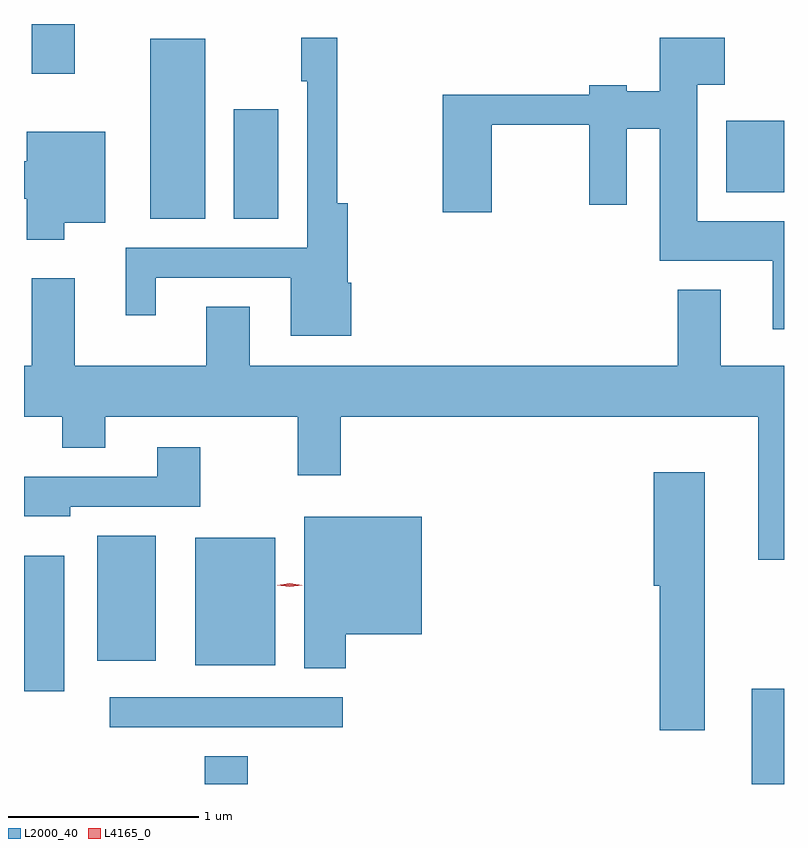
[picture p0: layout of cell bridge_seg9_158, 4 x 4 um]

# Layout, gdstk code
import gdstk
lib = gdstk.Library(unit=1e-6, precision=1e-09)
def R(c, l, rs):  # rectangles x0, y0, x1, y1
    for r in rs: c.add(gdstk.rectangle(r[:2], r[2:], *l))
def P(c, l, *ps):  # polygons
    for p in ps: c.add(gdstk.Polygon(p, *l))
L2000_40 = (2000, 40)
L4165_0 = (4165, 0)

bridge_seg9_158 = lib.new_cell('bridge_seg9_158')
R(bridge_seg9_158, L2000_40, [(1442.411,2076.462,1442.639,2076.609), (1445.291,2076.462,1445.461,2076.964), (1441.913,2076.761,1443.138,2076.919), (1441.461,2076.951,1441.674,2077.664), (1442.361,2077.086,1442.784,2077.759), (1441.846,2077.111,1442.154,2077.769), (1442.126,2079.436,1442.414,2080.384), (1442.566,2079.436,1442.799,2080.014), (1445.156,2079.576,1445.461,2079.954), (1441.501,2080.201,1441.729,2080.462)])
P(bridge_seg9_158, L2000_40, [(1443.184,2079.099),(1443.164,2079.099),(1443.164,2079.519),(1443.109,2079.519),(1443.109,2080.389),(1442.921,2080.389),(1442.921,2080.161),(1442.951,2080.161),(1442.951,2079.284),(1441.996,2079.284),(1441.996,2078.928),(1442.154,2078.928),(1442.154,2079.126),(1442.866,2079.126),(1442.866,2078.821),(1443.184,2078.821)],
  [(1445.461,2079.424),(1445.004,2079.424),(1445.004,2080.141),(1445.149,2080.141),(1445.149,2080.389),(1444.806,2080.389),(1444.806,2080.109),(1444.634,2080.109),(1444.634,2080.139),(1444.436,2080.139),(1444.436,2080.089),(1443.666,2080.089),(1443.666,2079.471),(1443.924,2079.471),(1443.924,2079.931),(1444.436,2079.931),(1444.436,2079.511),(1444.634,2079.511),(1444.634,2079.911),(1444.806,2079.911),(1444.806,2079.216),(1445.401,2079.216),(1445.401,2078.856),(1445.461,2078.856)],
  [(1441.674,2079.416),(1441.889,2079.416),(1441.889,2079.894),(1441.476,2079.894),(1441.476,2079.739),(1441.461,2079.739),(1441.461,2079.541),(1441.476,2079.541),(1441.476,2079.326),(1441.674,2079.326)],
  [(1445.461,2078.664),(1445.129,2078.664),(1445.129,2079.064),(1444.901,2079.064),(1444.901,2078.664),(1442.649,2078.664),(1442.649,2078.974),(1442.421,2078.974),(1442.421,2078.664),(1441.729,2078.664),(1441.729,2079.124),(1441.501,2079.124),(1441.501,2078.664),(1441.461,2078.664),(1441.461,2078.396),(1441.661,2078.396),(1441.661,2078.231),(1441.889,2078.231),(1441.889,2078.396),(1442.901,2078.396),(1442.901,2078.086),(1443.129,2078.086),(1443.129,2078.396),(1445.326,2078.396),(1445.326,2077.643),(1445.461,2077.643)],
  [(1441.704,2077.921),(1442.389,2077.921),(1442.389,2078.234),(1442.161,2078.234),(1442.161,2078.079),(1441.461,2078.079),(1441.461,2077.871),(1441.704,2077.871)],
  [(1445.044,2078.104),(1444.776,2078.104),(1444.776,2077.506),(1444.806,2077.506),(1444.806,2076.746),(1445.044,2076.746)],
  [(1443.154,2077.251),(1443.554,2077.251),(1443.554,2077.869),(1442.936,2077.869),(1442.936,2077.071),(1443.154,2077.071)])
P(bridge_seg9_158, L4165_0, [(1442.86,2077.499),(1442.794,2077.508),(1442.794,2077.508),(1442.794,2077.509),(1442.86,2077.518),(1442.925,2077.509),(1442.926,2077.509),(1442.925,2077.508)])

lib.write_gds('bridge_seg9_158.gds')
